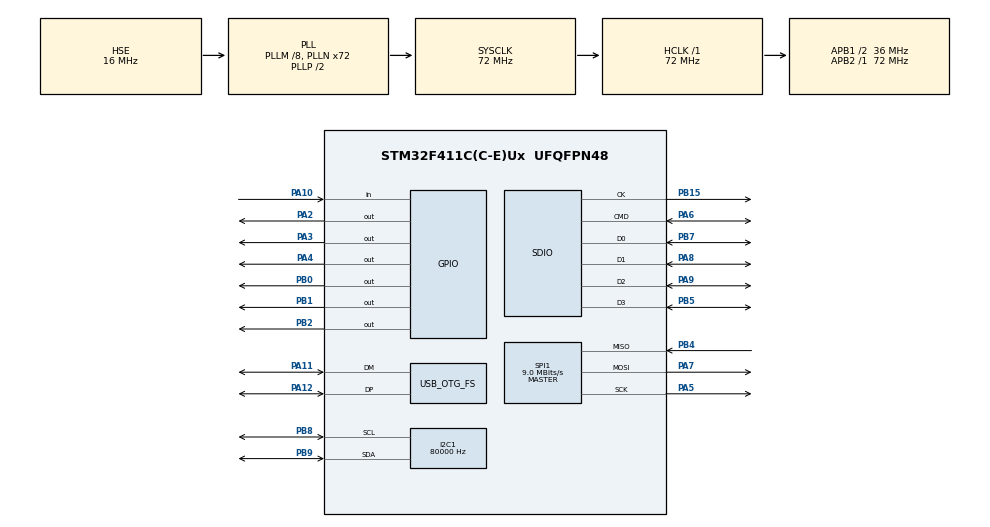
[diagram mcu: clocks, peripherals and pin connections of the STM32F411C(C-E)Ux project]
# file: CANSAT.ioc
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Dma.Request0=SDIO_RX
Dma.Request1=SDIO_TX
Dma.SDIO_RX.0.Direction=DMA_PERIPH_TO_MEMORY
Dma.SDIO_RX.0.FIFOMode=DMA_FIFOMODE_ENABLE
Dma.SDIO_RX.0.FIFOThreshold=DMA_FIFO_THRESHOLD_FULL
Dma.SDIO_RX.0.Instance=DMA2_Stream3
Dma.SDIO_RX.0.MemBurst=DMA_MBURST_INC4
Dma.SDIO_RX.0.MemDataAlignment=DMA_MDATAALIGN_WORD
Dma.SDIO_RX.0.MemInc=DMA_MINC_ENABLE
Dma.SDIO_RX.0.Mode=DMA_PFCTRL
Dma.SDIO_RX.0.PeriphBurst=DMA_PBURST_INC4
Dma.SDIO_RX.0.PeriphDataAlignment=DMA_PDATAALIGN_WORD
Dma.SDIO_RX.0.PeriphInc=DMA_PINC_DISABLE
Dma.SDIO_RX.0.Priority=DMA_PRIORITY_LOW
Dma.SDIO_TX.1.Direction=DMA_MEMORY_TO_PERIPH
Dma.SDIO_TX.1.FIFOMode=DMA_FIFOMODE_ENABLE
Dma.SDIO_TX.1.FIFOThreshold=DMA_FIFO_THRESHOLD_FULL
Dma.SDIO_TX.1.Instance=DMA2_Stream6
Dma.SDIO_TX.1.MemBurst=DMA_MBURST_INC4
Dma.SDIO_TX.1.MemDataAlignment=DMA_MDATAALIGN_WORD
Dma.SDIO_TX.1.MemInc=DMA_MINC_ENABLE
Dma.SDIO_TX.1.Mode=DMA_PFCTRL
Dma.SDIO_TX.1.PeriphBurst=DMA_PBURST_INC4
Dma.SDIO_TX.1.PeriphDataAlignment=DMA_PDATAALIGN_WORD
Dma.SDIO_TX.1.PeriphInc=DMA_PINC_DISABLE
Dma.SDIO_TX.1.Priority=DMA_PRIORITY_LOW
FATFS.BSP.number=1
FATFS.USE_DMA_CODE_SD=1
FATFS0.BSP.STBoard=false
FATFS0.BSP.api=Unknown
FATFS0.BSP.instance=PA10
FATFS0.BSP.ip=GPIO
FATFS0.BSP.mode=Input
FATFS0.BSP.name=Detect_SDIO
FATFS0.BSP.solution=PA10
I2C1.ClockSpeed=80000
I2C1.I2C_Mode=I2C_Standard
Mcu.Family=STM32F4
Mcu.Name=STM32F411C(C-E)Ux
Mcu.Package=UFQFPN48
NVIC.DMA2_Stream3_IRQn=true\:0\:0\:false\:false\:true\:false\:true\:true
NVIC.DMA2_Stream6_IRQn=true\:0\:0\:false\:false\:true\:false\:true\:true
NVIC.OTG_FS_IRQn=true\:0\:0\:false\:false\:true\:false\:true\:true
NVIC.PriorityGroup=NVIC_PRIORITYGROUP_4
NVIC.SDIO_IRQn=true\:0\:0\:true\:false\:true\:true\:true\:true
NVIC.TIM1_UP_TIM10_IRQn=true\:1\:0\:true\:false\:true\:true\:true\:true
PA10.Signal=GPIO_Input
PA11.Mode=Device_Only
PA11.Signal=USB_OTG_FS_DM
PA12.Mode=Device_Only
PA12.Signal=USB_OTG_FS_DP
PA13.Mode=Trace_Asynchronous_SW
PA13.Signal=SYS_JTMS-SWDIO
PA14.Mode=Trace_Asynchronous_SW
PA14.Signal=SYS_JTCK-SWCLK
PA2.Signal=GPIO_Output
PA3.Signal=GPIO_Output
PA4.Signal=GPIO_Output
PA5.Mode=Full_Duplex_Master
PA5.Signal=SPI1_SCK
PA6.Mode=SD_4_bits_Wide_bus
PA6.Signal=SDIO_CMD
PA7.Mode=Full_Duplex_Master
PA7.Signal=SPI1_MOSI
PA8.Mode=SD_4_bits_Wide_bus
PA8.Signal=SDIO_D1
PA9.Mode=SD_4_bits_Wide_bus
PA9.Signal=SDIO_D2
PB0.GPIO_ModeDefaultOutputPP=GPIO_MODE_OUTPUT_OD
PB0.GPIO_Speed=GPIO_SPEED_FREQ_VERY_HIGH
PB0.Signal=GPIO_Output
PB1.GPIO_ModeDefaultOutputPP=GPIO_MODE_OUTPUT_OD
PB1.GPIO_Speed=GPIO_SPEED_FREQ_VERY_HIGH
PB1.Signal=GPIO_Output
PB15.Mode=SD_4_bits_Wide_bus
PB15.Signal=SDIO_CK
PB2.GPIO_ModeDefaultOutputPP=GPIO_MODE_OUTPUT_OD
PB2.GPIO_Speed=GPIO_SPEED_FREQ_VERY_HIGH
PB2.Signal=GPIO_Output
PB3.Mode=Trace_Asynchronous_SW
PB3.Signal=SYS_JTDO-SWO
PB4.Mode=Full_Duplex_Master
PB4.Signal=SPI1_MISO
PB5.Mode=SD_4_bits_Wide_bus
PB5.Signal=SDIO_D3
PB7.Mode=SD_4_bits_Wide_bus
PB7.Signal=SDIO_D0
PB8.GPIO_Pu=GPIO_PULLUP
PB8.Mode=I2C
PB8.Signal=I2C1_SCL
PB9.GPIO_Pu=GPIO_PULLUP
PB9.Mode=I2C
PB9.Signal=I2C1_SDA
PH0\ -\ OSC_IN.Mode=HSE-External-Oscillator
PH0\ -\ OSC_IN.Signal=RCC_OSC_IN
PH1\ -\ OSC_OUT.Mode=HSE-External-Oscillator
PH1\ -\ OSC_OUT.Signal=RCC_OSC_OUT
ProjectManager.HeapSize=0x200
ProjectManager.StackSize=0x400
ProjectManager.TargetToolchain=STM32CubeIDE
RCC.48MHZClocksFreq_Value=48000000
RCC.AHBFreq_Value=72000000
RCC.APB1CLKDivider=RCC_HCLK_DIV2
RCC.APB1Freq_Value=36000000
RCC.APB1TimFreq_Value=72000000
RCC.APB2Freq_Value=72000000
RCC.APB2TimFreq_Value=72000000
RCC.CortexFreq_Value=72000000
RCC.HCLKFreq_Value=72000000
RCC.HSE_VALUE=16000000
RCC.HSI_VALUE=16000000
RCC.LSE_VALUE=32768
RCC.PLLM=8
RCC.PLLN=72
RCC.PLLQ=3
RCC.SYSCLKFreq_VALUE=72000000
RCC.SYSCLKSource=RCC_SYSCLKSOURCE_PLLCLK
RCC.VCOOutputFreq_Value=144000000
SPI1.BaudRatePrescaler=SPI_BAUDRATEPRESCALER_8
SPI1.CalculateBaudRate=9.0 MBits/s
SPI1.Direction=SPI_DIRECTION_2LINES
SPI1.Mode=SPI_MODE_MASTER
SPI1.VirtualType=VM_MASTER
TIM10.ClockDivision=TIM_CLOCKDIVISION_DIV1
TIM10.Period=10000-1
TIM10.Prescaler=240-1
USB_DEVICE.CLASS_NAME_FS=CDC
USB_DEVICE.VirtualMode=Cdc
USB_DEVICE.VirtualModeFS=Cdc_FS
USB_OTG_FS.VirtualMode=Device_Only
VP_FATFS_VS_SDIO.Mode=SDIO
VP_TIM10_VS_ClockSourceINT.Mode=Enable_Timer
VP_USB_DEVICE_VS_USB_DEVICE_CDC_FS.Mode=CDC_FS
board=custom

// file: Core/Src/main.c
/* USER CODE BEGIN Header */
/**
 ******************************************************************************
 * @file           : main.c
 * @brief          : Main program body
 ******************************************************************************
 * @attention
 *
 * <h2><center>&copy; Copyright (c) 2020 STMicroelectronics.
 * All rights reserved.</center></h2>
 *
 * This software component is licensed by ST under BSD 3-Clause license,
 * the "License"; You may not use this file except in compliance with the
 * License. You may obtain a copy of the License at:
 *                        opensource.org/licenses/BSD-3-Clause
 *
 ******************************************************************************
 */
/* USER CODE END Header */
#include "main.h"
#include "fatfs.h"
#include "usb_device.h"

/* USER CODE BEGIN Includes */
#include "sd_card.h"
#include "usbd_cdc_if.h"
#include "stdlib.h"
#include "Goertek-SPL06-007.h"
#include "bmx055.h"
#include "fox.h"
#include "filter.h"
#include <string.h>
#include <math.h>

/* USER CODE END Includes */

I2C_HandleTypeDef hi2c1;

SD_HandleTypeDef hsd;
DMA_HandleTypeDef hdma_sdio_rx;
DMA_HandleTypeDef hdma_sdio_tx;

SPI_HandleTypeDef hspi1;

TIM_HandleTypeDef htim10;

/* USER CODE BEGIN PV */
FATFS fatfs;
FIL fil;
filter_t filter_accel_x;
filter_t filter_accel_y;
filter_t filter_accel_z;
filter_t filter_gyro_x;
filter_t filter_gyro_y;
filter_t filter_gyro_z;
filter_t filter_temperature;
filter_t filter_altitude;
uint32_t save_counter;
float start_altitude;

/* USER CODE END PV */

void SystemClock_Config(void);
static void MX_GPIO_Init(void);
static void MX_DMA_Init(void);
static void MX_I2C1_Init(void);
static void MX_SPI1_Init(void);
static void MX_SDIO_SD_Init(void);
static void MX_TIM10_Init(void);
/* USER CODE BEGIN PFP */
void serialPrintAccelData();
void serialPrintGyroData();
void serialPrintIMUData();

/* USER CODE END PFP */

int main(void)
{

  /* MCU Configuration--------------------------------------------------------*/

  /* Reset of all peripherals, Initializes the Flash interface and the Systick. */
  HAL_Init();

  /* Configure the system clock */
  SystemClock_Config();

  /* Initialize all configured peripherals */
  MX_GPIO_Init();
  MX_DMA_Init();
  MX_I2C1_Init();
  MX_SPI1_Init();
  MX_USB_DEVICE_Init();
  MX_SDIO_SD_Init();
  MX_FATFS_Init();
  MX_TIM10_Init();
  /* USER CODE BEGIN 2 */

  	// wait for stuff
	HAL_Delay(500);

	// init gyroscope
	BMX055_init(&hspi1);
	BMX055_setGyroRange(&hspi1, g250g);
	BMX055_setAccelRange(&hspi1, a4g);

	// init pressure sensor
	SPL006_Init();

	HAL_Delay(200);

	// init filters;
	Filter_init(&filter_accel_x, 3.0f, 0.0333f);
	Filter_init(&filter_accel_y, 3.0f, 0.0333f);
	Filter_init(&filter_accel_z, 3.0f, 0.0333f);
	Filter_init(&filter_gyro_x, 3.0f, 0.0333f);
	Filter_init(&filter_gyro_y, 3.0f, 0.0333f);
	Filter_init(&filter_gyro_z, 3.0f, 0.0333f);
	Filter_init(&filter_temperature, 3.0f, 0.0333f);
	Filter_init(&filter_altitude, 3.0f, 0.0333f);

	// init sd stuff
	initBinaryData();

	// start indicator
	HAL_GPIO_WritePin(GPIOA, GPIO_PIN_2, GPIO_PIN_SET);
	HAL_Delay(100);
	HAL_GPIO_WritePin(GPIOA, GPIO_PIN_2, GPIO_PIN_RESET);

	// init timer
	HAL_TIM_Base_Start_IT(&htim10);

  /* USER CODE END 2 */

  /* Infinite loop */
  /* USER CODE BEGIN WHILE */
	while (1) {
		unsigned char minutes = save_counter / 1800;

		if(minutes & (1<<0)) HAL_GPIO_WritePin(GPIOA, GPIO_PIN_2, GPIO_PIN_SET);
		else HAL_GPIO_WritePin(GPIOA, GPIO_PIN_2, GPIO_PIN_RESET);

		if(minutes & (1<<1)) HAL_GPIO_WritePin(GPIOA, GPIO_PIN_3, GPIO_PIN_SET);
		else HAL_GPIO_WritePin(GPIOA, GPIO_PIN_3, GPIO_PIN_RESET);

		if(minutes & (1<<2)) HAL_GPIO_WritePin(GPIOA, GPIO_PIN_4, GPIO_PIN_SET);
		else HAL_GPIO_WritePin(GPIOA, GPIO_PIN_4, GPIO_PIN_RESET);

		HAL_Delay(100);
    /* USER CODE END WHILE */

	}
}

void SystemClock_Config(void)
{
  RCC_OscInitTypeDef RCC_OscInitStruct = {0};
  RCC_ClkInitTypeDef RCC_ClkInitStruct = {0};

  /** Configure the main internal regulator output voltage
  */
  __HAL_RCC_PWR_CLK_ENABLE();
  __HAL_PWR_VOLTAGESCALING_CONFIG(PWR_REGULATOR_VOLTAGE_SCALE1);

  /** Initializes the RCC Oscillators according to the specified parameters
  * in the RCC_OscInitTypeDef structure.
  */
  RCC_OscInitStruct.OscillatorType = RCC_OSCILLATORTYPE_HSE;
  RCC_OscInitStruct.HSEState = RCC_HSE_ON;
  RCC_OscInitStruct.PLL.PLLState = RCC_PLL_ON;
  RCC_OscInitStruct.PLL.PLLSource = RCC_PLLSOURCE_HSE;
  RCC_OscInitStruct.PLL.PLLM = 8;
  RCC_OscInitStruct.PLL.PLLN = 72;
  RCC_OscInitStruct.PLL.PLLP = RCC_PLLP_DIV2;
  RCC_OscInitStruct.PLL.PLLQ = 3;
  if (HAL_RCC_OscConfig(&RCC_OscInitStruct) != HAL_OK)
  {
    Error_Handler();
  }

  /** Initializes the CPU, AHB and APB buses clocks
  */
  RCC_ClkInitStruct.ClockType = RCC_CLOCKTYPE_HCLK|RCC_CLOCKTYPE_SYSCLK
                              |RCC_CLOCKTYPE_PCLK1|RCC_CLOCKTYPE_PCLK2;
  RCC_ClkInitStruct.SYSCLKSource = RCC_SYSCLKSOURCE_PLLCLK;
  RCC_ClkInitStruct.AHBCLKDivider = RCC_SYSCLK_DIV1;
  RCC_ClkInitStruct.APB1CLKDivider = RCC_HCLK_DIV2;
  RCC_ClkInitStruct.APB2CLKDivider = RCC_HCLK_DIV1;

  if (HAL_RCC_ClockConfig(&RCC_ClkInitStruct, FLASH_LATENCY_2) != HAL_OK)
  {
    Error_Handler();
  }
}

static void MX_I2C1_Init(void)
{

  hi2c1.Instance = I2C1;
  hi2c1.Init.ClockSpeed = 80000;
  hi2c1.Init.DutyCycle = I2C_DUTYCYCLE_2;
  hi2c1.Init.OwnAddress1 = 0;
  hi2c1.Init.AddressingMode = I2C_ADDRESSINGMODE_7BIT;
  hi2c1.Init.DualAddressMode = I2C_DUALADDRESS_DISABLE;
  hi2c1.Init.OwnAddress2 = 0;
  hi2c1.Init.GeneralCallMode = I2C_GENERALCALL_DISABLE;
  hi2c1.Init.NoStretchMode = I2C_NOSTRETCH_DISABLE;
  if (HAL_I2C_Init(&hi2c1) != HAL_OK)
  {
    Error_Handler();
  }

}

static void MX_SDIO_SD_Init(void)
{

  hsd.Instance = SDIO;
  hsd.Init.ClockEdge = SDIO_CLOCK_EDGE_RISING;
  hsd.Init.ClockBypass = SDIO_CLOCK_BYPASS_DISABLE;
  hsd.Init.ClockPowerSave = SDIO_CLOCK_POWER_SAVE_DISABLE;
  hsd.Init.BusWide = SDIO_BUS_WIDE_4B;
  hsd.Init.HardwareFlowControl = SDIO_HARDWARE_FLOW_CONTROL_DISABLE;
  hsd.Init.ClockDiv = 0;

}

static void MX_SPI1_Init(void)
{

  /* SPI1 parameter configuration*/
  hspi1.Instance = SPI1;
  hspi1.Init.Mode = SPI_MODE_MASTER;
  hspi1.Init.Direction = SPI_DIRECTION_2LINES;
  hspi1.Init.DataSize = SPI_DATASIZE_8BIT;
  hspi1.Init.CLKPolarity = SPI_POLARITY_LOW;
  hspi1.Init.CLKPhase = SPI_PHASE_1EDGE;
  hspi1.Init.NSS = SPI_NSS_SOFT;
  hspi1.Init.BaudRatePrescaler = SPI_BAUDRATEPRESCALER_8;
  hspi1.Init.FirstBit = SPI_FIRSTBIT_MSB;
  hspi1.Init.TIMode = SPI_TIMODE_DISABLE;
  hspi1.Init.CRCCalculation = SPI_CRCCALCULATION_DISABLE;
  hspi1.Init.CRCPolynomial = 10;
  if (HAL_SPI_Init(&hspi1) != HAL_OK)
  {
    Error_Handler();
  }

}

static void MX_TIM10_Init(void)
{

  htim10.Instance = TIM10;
  htim10.Init.Prescaler = 240-1;
  htim10.Init.CounterMode = TIM_COUNTERMODE_UP;
  htim10.Init.Period = 10000-1;
  htim10.Init.ClockDivision = TIM_CLOCKDIVISION_DIV1;
  htim10.Init.AutoReloadPreload = TIM_AUTORELOAD_PRELOAD_DISABLE;
  if (HAL_TIM_Base_Init(&htim10) != HAL_OK)
  {
    Error_Handler();
  }

}

static void MX_DMA_Init(void)
{

  /* DMA controller clock enable */
  __HAL_RCC_DMA2_CLK_ENABLE();

  /* DMA interrupt init */
  /* DMA2_Stream3_IRQn interrupt configuration */
  HAL_NVIC_SetPriority(DMA2_Stream3_IRQn, 0, 0);
  HAL_NVIC_EnableIRQ(DMA2_Stream3_IRQn);
  /* DMA2_Stream6_IRQn interrupt configuration */
  HAL_NVIC_SetPriority(DMA2_Stream6_IRQn, 0, 0);
  HAL_NVIC_EnableIRQ(DMA2_Stream6_IRQn);

}

static void MX_GPIO_Init(void)
{
  GPIO_InitTypeDef GPIO_InitStruct = {0};

  /* GPIO Ports Clock Enable */
  __HAL_RCC_GPIOH_CLK_ENABLE();
  __HAL_RCC_GPIOA_CLK_ENABLE();
  __HAL_RCC_GPIOB_CLK_ENABLE();

  /*Configure GPIO pin Output Level */
  HAL_GPIO_WritePin(GPIOA, GPIO_PIN_2|GPIO_PIN_3|GPIO_PIN_4, GPIO_PIN_RESET);

  /*Configure GPIO pin Output Level */
  HAL_GPIO_WritePin(GPIOB, GPIO_PIN_0|GPIO_PIN_1|GPIO_PIN_2, GPIO_PIN_RESET);

  /*Configure GPIO pins : PA2 PA3 PA4 */
  GPIO_InitStruct.Pin = GPIO_PIN_2|GPIO_PIN_3|GPIO_PIN_4;
  GPIO_InitStruct.Mode = GPIO_MODE_OUTPUT_PP;
  GPIO_InitStruct.Pull = GPIO_NOPULL;
  GPIO_InitStruct.Speed = GPIO_SPEED_FREQ_LOW;
  HAL_GPIO_Init(GPIOA, &GPIO_InitStruct);

  /*Configure GPIO pins : PB0 PB1 PB2 */
  GPIO_InitStruct.Pin = GPIO_PIN_0|GPIO_PIN_1|GPIO_PIN_2;
  GPIO_InitStruct.Mode = GPIO_MODE_OUTPUT_OD;
  GPIO_InitStruct.Pull = GPIO_NOPULL;
  GPIO_InitStruct.Speed = GPIO_SPEED_FREQ_VERY_HIGH;
  HAL_GPIO_Init(GPIOB, &GPIO_InitStruct);

  /*Configure GPIO pin : PA10 */
  GPIO_InitStruct.Pin = GPIO_PIN_10;
  GPIO_InitStruct.Mode = GPIO_MODE_INPUT;
  GPIO_InitStruct.Pull = GPIO_NOPULL;
  HAL_GPIO_Init(GPIOA, &GPIO_InitStruct);

}

/* USER CODE BEGIN 4 */
void serialPrintAccelData()
{
	int16_t accel_data[3];
	BMX055_readAccel(&hspi1, accel_data);

	float accel_x = Filter_run(&filter_accel_x, accel_data[0] * 0.0011975f);
	float accel_y = Filter_run(&filter_accel_y, accel_data[1] * 0.0011975f);
	float accel_z = Filter_run(&filter_accel_z, accel_data[2] * 0.0011975f);
	float accel_tot = sqrt(accel_x * accel_x + accel_y * accel_y + accel_z * accel_z);

	usbSendFloat(accel_x);
	usbSendString(", ");
	usbSendFloat(accel_y);
	usbSendString(", ");
	usbSendFloat(accel_z);
	usbSendString(", ");
	usbSendFloat(accel_tot);
}

void serialPrintGyroData()
{
	int16_t gyro_data[3];
	BMX055_readGyro(&hspi1, gyro_data);

	float gyro_x = Filter_run(&filter_gyro_x, gyro_data[0] * 0.007629f);
	float gyro_y = Filter_run(&filter_gyro_y, gyro_data[1] * 0.007629f);
	float gyro_z = Filter_run(&filter_gyro_z, gyro_data[2] * 0.007629f);
	float gyro_tot = sqrt(gyro_x * gyro_x + gyro_y * gyro_y + gyro_z * gyro_z);

	usbSendFloat(gyro_x);
	usbSendString(", ");
	usbSendFloat(gyro_y);
	usbSendString(", ");
	usbSendFloat(gyro_z);
	usbSendString(", ");
	usbSendFloat(gyro_tot);
}

void serialPrintIMUData()
{
	while(!usbIsConnected());
	usbSendStringln("ACCEL_X, ACCEL_Y, ACCEL_Z, ACCEL_TOTAL, GYRO_X, GYRO_Y, GYRO_Z, GYRO_TOT");
	while(1)
	{
		serialPrintAccelData();
		serialPrintGyroData();
		usbSendStringln("");
		HAL_Delay(33);
	}
}

void initBinaryData()
{
	// init and create new file with data
	SD_Init(&fatfs);
	TCHAR file_path[12];
	SD_Exists(file_path);
	SD_Open(&fil, file_path, FA_CREATE_ALWAYS | FA_WRITE);
	char text[128] = "ACCELX,ACCELY,ACCELZ,GYROX,GYROY,GYROZ,ALTITUDE,TEMP\n";
	SD_Write(&fil, text);
	SD_Save(&fil);

	start_altitude = SPL006_ReadAltitude();

	save_counter = 0;
}

void saveBinaryData()
{
	// manage accel data
	int16_t accel_data[3];
	BMX055_readAccel(&hspi1, accel_data);

	float accel_x = Filter_run(&filter_accel_x, accel_data[0] * 0.0005987f);
	float accel_y = Filter_run(&filter_accel_y, accel_data[1] * 0.0005987f);
	float accel_z = Filter_run(&filter_accel_z, accel_data[2] * 0.0005987f);

	// manage gyro data
	int16_t gyro_data[3];
	BMX055_readGyro(&hspi1, gyro_data);

	float gyro_x = Filter_run(&filter_gyro_x, gyro_data[0] * 0.007629f);
	float gyro_y = Filter_run(&filter_gyro_y, gyro_data[1] * 0.007629f);
	float gyro_z = Filter_run(&filter_gyro_z, gyro_data[2] * 0.007629f);

	// fetch altitude data
	float altitude = SPL006_ReadAltitude() - start_altitude;
	altitude = Filter_run(&filter_altitude, altitude);

	// fetch temperature data
	float temperature = SPL006_ReadTemperature();
	temperature = Filter_run(&filter_temperature, temperature);

	// write data
	char data[74];
	memset(data, 0, 74);

	char accel_char_x[8];
	sprintf(accel_char_x, "%.3f,", accel_x);
	strcat(data, accel_char_x);

	char accel_char_y[8];
	sprintf(accel_char_y, "%.3f,", accel_y);
	strcat(data, accel_char_y);

	char accel_char_z[8];
	sprintf(accel_char_z, "%.3f,", accel_z);
	strcat(data, accel_char_z);

	char gyro_char_x[8];
	sprintf(gyro_char_x, "%.3f,", gyro_x);
	strcat(data, gyro_char_x);

	char gyro_char_y[8];
	sprintf(gyro_char_y, "%.3f,", gyro_y);
	strcat(data, gyro_char_y);

	char gyro_char_z[8];
	sprintf(gyro_char_z, "%.3f,", gyro_z);
	strcat(data, gyro_char_z);

	char altitude_char[8];
	sprintf(altitude_char, "%.3f,", altitude);
	strcat(data, altitude_char);

	char temperature_char[7];
	sprintf(temperature_char, "%.3f\n", temperature);
	strcat(data, temperature_char);

	SD_Write(&fil, data);
	SD_Save(&fil);

	save_counter++;
}

/* USER CODE END 4 */

void Error_Handler(void)
{
}
